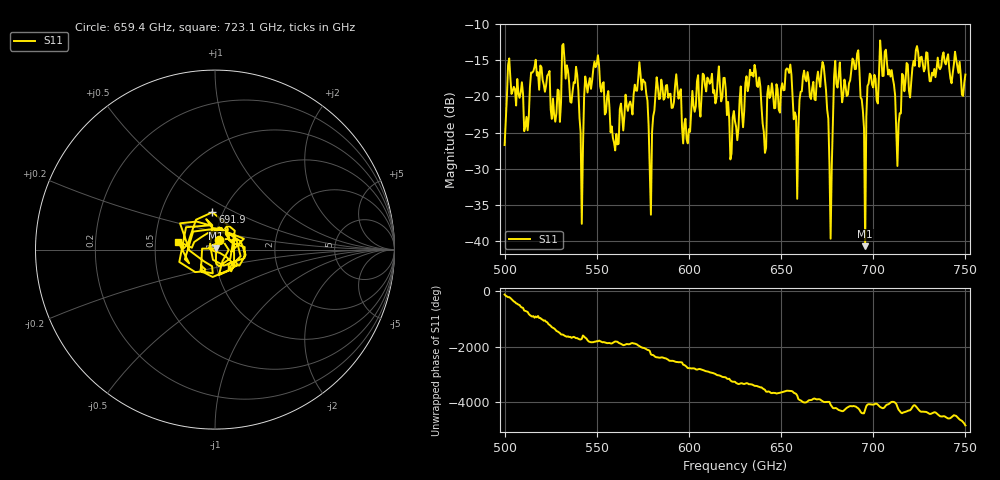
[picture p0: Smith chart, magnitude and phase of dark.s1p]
!Created with skrf (http://scikit-rf.org).
# GHz S RI R 50.0
!freq ReS11 ImS11
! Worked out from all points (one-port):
!   401 points, 500 GHz to 750 GHz, reference 50 ohm
!   lowest |S11| = -40.7 dB at 695.6 GHz (marker M1), VSWR 1.02, Z = 50.7 + j0.645 ohm
!   |S11| at or under -10 dB: start of sweep to end of sweep
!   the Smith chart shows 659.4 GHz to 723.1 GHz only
!   S11 on the Smith chart (normalised r, x): 659.4 GHz: 1.03, +0.12; 691.9 GHz: 0.89, +0.39; 723.1 GHz: 0.66, +0.06
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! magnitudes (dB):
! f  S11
! 500 GHz  -26.7
! 503.1 GHz  -17.4
! 511.9 GHz  -22.8
! 515.6 GHz  -16.5
! 531.2 GHz  -13.0
! 538.8 GHz  -15.9
! 541.9 GHz  -37.6
! 550 GHz  -15.5
! 562.5 GHz  -21.8
! 574.4 GHz  -19.1
! 579.4 GHz  -36.3
! 582.5 GHz  -17.4
! 593.8 GHz  -18.8
! 625 GHz  -23.5
! 634.4 GHz  -16.7
! 656.2 GHz  -20.2
! 659.4 GHz  -24.5
! 673.1 GHz  -15.8
! 676.9 GHz  -39.7
! 680 GHz  -18.3
! 687.5 GHz  -17.8
! 691.9 GHz  -13.6
! 695.6 GHz  -40.7
! 705 GHz  -17.2
! 713.8 GHz  -23.7
! 718.8 GHz  -15.6
! 723.1 GHz  -13.6
! 750 GHz  -17.0
